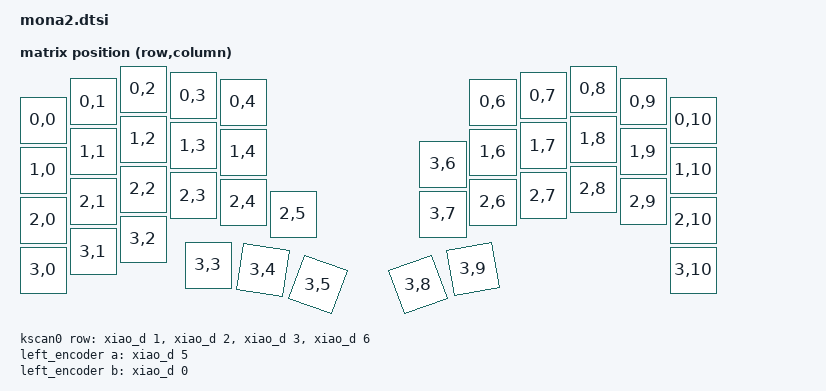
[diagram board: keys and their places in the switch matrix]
#include <dt-bindings/zmk/matrix_transform.h>
#include <input/processors.dtsi>
#include <dt-bindings/zmk/input_transform.h>
#include <physical_layouts.dtsi>

/ {
    chosen {
        zmk,physical-layout = &physical_layout0;
    };

    physical_layout0: physical_layout_0 {
        compatible = "zmk,physical-layout";
        display-name = "default_layout";

        kscan = <&kscan0>;
        transform = <&default_transform>;

        keys  //                     w   h    x    y     rot    rx    ry
            = <&key_physical_attrs 100 100    0   62       0     0     0>
            , <&key_physical_attrs 100 100  100   25       0     0     0>
            , <&key_physical_attrs 100 100  200    0       0     0     0>
            , <&key_physical_attrs 100 100  300   13       0     0     0>
            , <&key_physical_attrs 100 100  400   26       0     0     0>
            , <&key_physical_attrs 100 100  900   26       0     0     0>
            , <&key_physical_attrs 100 100 1000   13       0     0     0>
            , <&key_physical_attrs 100 100 1100    0       0     0     0>
            , <&key_physical_attrs 100 100 1200   25       0     0     0>
            , <&key_physical_attrs 100 100 1300   62       0     0     0>
            , <&key_physical_attrs 100 100    0  162       0     0     0>
            , <&key_physical_attrs 100 100  100  125       0     0     0>
            , <&key_physical_attrs 100 100  200  100       0     0     0>
            , <&key_physical_attrs 100 100  300  113       0     0     0>
            , <&key_physical_attrs 100 100  400  126       0     0     0>
            , <&key_physical_attrs 100 100  800  150       0     0     0>
            , <&key_physical_attrs 100 100  900  126       0     0     0>
            , <&key_physical_attrs 100 100 1000  113       0     0     0>
            , <&key_physical_attrs 100 100 1100  100       0     0     0>
            , <&key_physical_attrs 100 100 1200  125       0     0     0>
            , <&key_physical_attrs 100 100 1300  162       0     0     0>
            , <&key_physical_attrs 100 100    0  262       0     0     0>
            , <&key_physical_attrs 100 100  100  225       0     0     0>
            , <&key_physical_attrs 100 100  200  200       0     0     0>
            , <&key_physical_attrs 100 100  300  213       0     0     0>
            , <&key_physical_attrs 100 100  400  226       0     0     0>
            , <&key_physical_attrs 100 100  500  250       0     0     0>
            , <&key_physical_attrs 100 100  800  250       0     0     0>
            , <&key_physical_attrs 100 100  900  226       0     0     0>
            , <&key_physical_attrs 100 100 1000  213       0     0     0>
            , <&key_physical_attrs 100 100 1100  200       0     0     0>
            , <&key_physical_attrs 100 100 1200  225       0     0     0>
            , <&key_physical_attrs 100 100 1300  262       0     0     0>
            , <&key_physical_attrs 100 100    0  362       0     0     0>
            , <&key_physical_attrs 100 100  100  325       0     0     0>
            , <&key_physical_attrs 100 100  200  300       0     0     0>
            , <&key_physical_attrs 100 100  330  352       0     0     0>
            , <&key_physical_attrs 100 100  440  362     900   490   412>
            , <&key_physical_attrs 100 100  550  391    2000   600   441>
            , <&key_physical_attrs 100 100  750  391 (-2000)   800   441>
            , <&key_physical_attrs 100 100  860  362 (-1000)   900   412>
            , <&key_physical_attrs 100 100 1300  362       0     0     0>
            ;
    };

    default_transform: keymap_transform_0 {
        compatible = "zmk,matrix-transform";
        columns = <11>;
        rows = <4>;
        map = <
            RC(0,0) RC(0,1) RC(0,2) RC(0,3) RC(0,4)                     RC(0,6) RC(0,7) RC(0,8) RC(0,9) RC(0,10)
            RC(1,0) RC(1,1) RC(1,2) RC(1,3) RC(1,4)             RC(3,6) RC(1,6) RC(1,7) RC(1,8) RC(1,9) RC(1,10)
            RC(2,0) RC(2,1) RC(2,2) RC(2,3) RC(2,4) RC(2,5)     RC(3,7) RC(2,6) RC(2,7) RC(2,8) RC(2,9) RC(2,10)
            RC(3,0) RC(3,1) RC(3,2) RC(3,3) RC(3,4) RC(3,5)     RC(3,8) RC(3,9)                         RC(3,10)
        >;
    };

    kscan0: kscan {
        compatible = "zmk,kscan-gpio-matrix";
        label = "KSCAN";
        diode-direction = "col2row";
            row-gpios
                = <&xiao_d 1 (GPIO_ACTIVE_HIGH | GPIO_PULL_DOWN)>
                , <&xiao_d 2 (GPIO_ACTIVE_HIGH | GPIO_PULL_DOWN)>
                , <&xiao_d 3 (GPIO_ACTIVE_HIGH | GPIO_PULL_DOWN)>
                , <&xiao_d 6 (GPIO_ACTIVE_HIGH | GPIO_PULL_DOWN)>
                ;
    };

    //right hand trackball
    trackball_central_listener: trackball_central_listener {
        compatible = "zmk,input-listener";
        status = "disabled";
        input-processors =
            <&zip_xy_transform INPUT_TRANSFORM_Y_INVERT>;         //Y軸反転
            //<&zip_xy_transform INPUT_TRANSFORM_XY_SWAP>,        //X軸とY軸の入れ替え
            //<&zip_xy_transform INPUT_TRANSFORM_X_INVERT>,       //X軸反転
            //<&zip_temp_layer 5 500>;                            //オートマウスレイヤーの選択
    };

    left_encoder: encoder_left {
        compatible = "alps,ec11";
        a-gpios = <&xiao_d 5 (GPIO_ACTIVE_HIGH | GPIO_PULL_UP)>;
        b-gpios = <&xiao_d 0 (GPIO_ACTIVE_HIGH | GPIO_PULL_UP)>;
        steps = <24>;
        status = "disabled";
    };

    right_encoder: encoder_right {
        status = "disabled";
    };

    sensors: sensors {
        compatible = "zmk,keymap-sensors";
        sensors = <&left_encoder &right_encoder>;
        triggers-per-rotation = <10>;
    };

};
